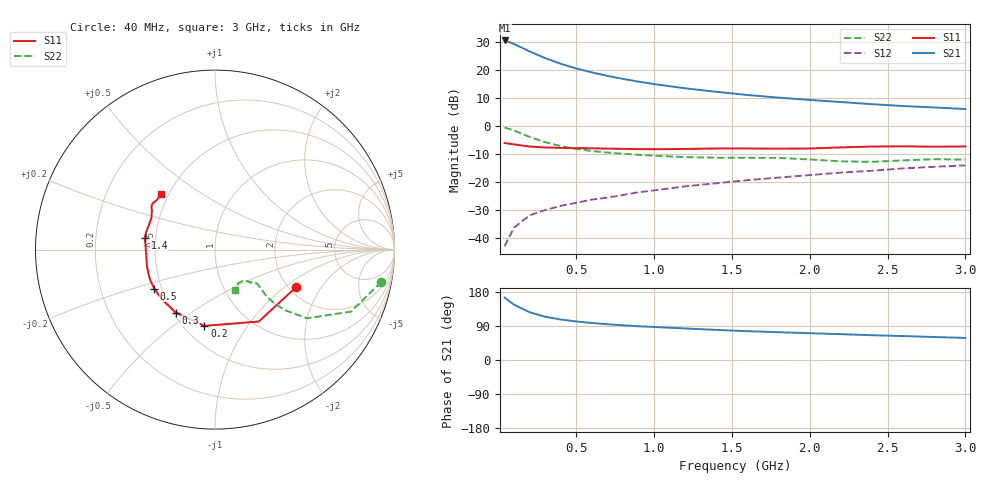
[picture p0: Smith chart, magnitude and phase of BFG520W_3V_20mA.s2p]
! Filename:  BFG520WE.S2P  Version:  4.0
! Philips part #: BFG520  Date: Jun 1994
! Bias condition: Vce=3.0V, Ic=20.0mA
! IN LINE PINNING: same data as with cross emitter pinning.
#  MHz  S  MA  R  50
! Freq  S11  S21  S12  S22  !GUM [dB]
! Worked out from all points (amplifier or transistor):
!   21 points, 40 MHz to 3 GHz, reference 50 ohm
!   highest |S21| = 30.7 dB at 40 MHz (marker M1)
!   |S21| within 3 dB of that: start of sweep to 165.9 MHz
!   unconditionally stable (mu >= 1): 754.3 MHz to end of sweep
!   at 300 MHz: K = 0.65, MSG = 27.3 dB, |S12| = -30.2 dB
!   at 1 GHz: K = 1.07, MAG = 17.5 dB, |S12| = -23.1 dB
!   at 3 GHz: K = 1.11, MAG = 8.1 dB, |S12| = -14.1 dB
!   S11 on the Smith chart (normalised r, x): 40 MHz: 2.17, -1.22; 200 MHz: 0.63, -0.65; 300 MHz: 0.52, -0.44; 500 MHz: 0.46, -0.24; 1.4 GHz: 0.44, +0.07; 3 GHz: 0.46, +0.34
40  0.497 -25.1  34.36 164.8  0.007 78.9  0.944 -11.0
100  0.469 -58.7  29.78 146.1  0.015 70.3  0.833 -24.5
200  0.429 -97.9  21.91 126.1  0.025 62.2  0.64 -36.7
300  0.413 -121.9  16.6 114.2  0.031 61.2  0.513 -41.0
400  0.406 -136.9  13.11 106.9  0.037 62.9  0.437 -42.2
500  0.402 -147.3  10.8 101.7  0.042 63.8  0.388 -42.1
600  0.399 -154.8  9.176 97.7  0.048 65.3  0.357 -41.2
700  0.394 -160.7  7.962 94.4  0.052 67.4  0.335 -40.4
800  0.39 -166.2  7.026 91.6  0.058 69.1  0.318 -39.6
900  0.386 -171.4  6.27 89.1  0.065 70.7  0.305 -39.1
1000  0.384 -176.1  5.671 87.1  0.07 71.4  0.294 -39.1
1200  0.389 175.9  4.759 83.2  0.083 73.0  0.277 -40.1
1400  0.396 170.3  4.117 79.4  0.094 73.8  0.271 -42.2
1600  0.396 165.6  3.61 76.1  0.107 75.2  0.27 -43.4
1800  0.393 159.5  3.238 73.3  0.119 74.8  0.268 -43.4
2000  0.396 153.3  2.941 70.7  0.132 75.1  0.252 -44.0
2200  0.414 148.2  2.7 68.2  0.146 74.7  0.233 -48.0
2400  0.429 145.6  2.469 65.4  0.158 75.5  0.228 -55.6
2600  0.433 143.3  2.287 63.2  0.174 75.5  0.242 -61.4
2800  0.426 139.9  2.159 60.6  0.186 74.6  0.255 -62.9
3000  0.431 134.4  2.023 58.3  0.197 74.5  0.25 -63.4
